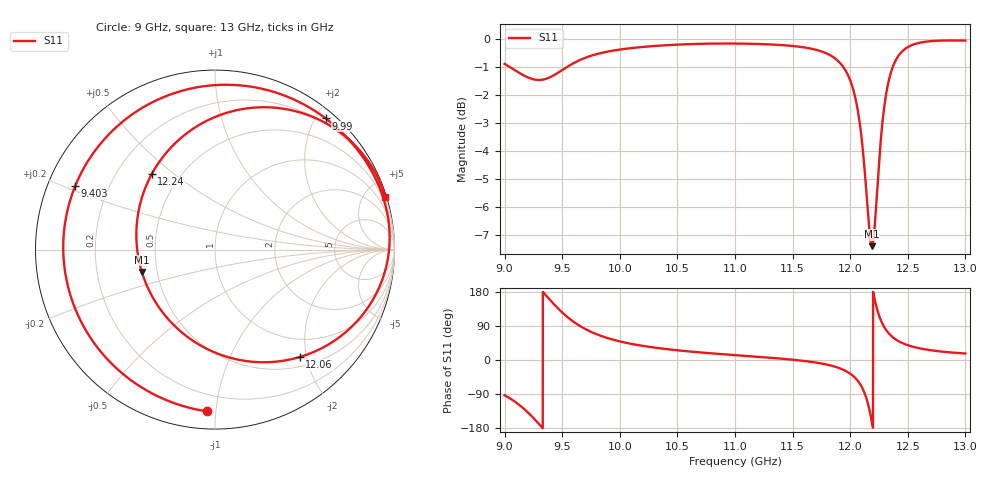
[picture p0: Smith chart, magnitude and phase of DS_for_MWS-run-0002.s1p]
! TOUCHSTONE file generated by CST DESIGN STUDIO
! Date and time: Tue Feb  4 13:09:00 2025
! Project name: C:\Work\MatlabApps\UnitCellOptimizationMatlab\CST\unitcell.cst
! Tree item: Tasks\Sweep1\SPara1\S-Parameters
! Header version: 2024
! Port assignment regex: !\s*Touchstone port\s*([0-9]+)\s*=\s*(CST MWS port|CST DES external port|CST DES block port)\s*(.+)\s* \(\"(.*)\"\)(\s*mode\s*([0-9]+))?.*
! Touchstone port assignment:
! Touchstone port 1 = CST DES external port 1 ("")
# GHz S MA R 50
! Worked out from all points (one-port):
!   4001 points, 9 GHz to 13 GHz, reference 50 ohm
!   lowest |S11| = -7.4 dB at 12.19 GHz (marker M1), VSWR 2.48, Z = 20.5 - j6.26 ohm
!   |S11| at or under -10 dB: nowhere
!   S11 on the Smith chart (normalised r, x): 9 GHz: 0.10, -0.94; 9.403 GHz: 0.08, +0.22; 9.99 GHz: 0.13, +2.15; 12.06 GHz: 0.66, -1.88; 12.24 GHz: 0.35, +0.42; 13 GHz: 0.16, +6.65
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9  0.9023 -93.0
9.102  0.8756 -112.7
9.19  0.8557 -135.0
9.304  0.8444 -170.8
9.403  0.8556 155.5
9.5  0.8796 125.4
9.579  0.9002 105.3
9.671  0.92 86.7
9.818  0.9414 65.8
9.99  0.9563 49.8
10  0.957 49.1
10.5  0.9767 25.6
11  0.981 12.8
11.5  0.9713 0.8
11.835  0.9327 -14.8
12  0.8431 -36.1
12.057  0.7624 -51.7
12.129  0.5706 -90.8
12.158  0.4757 -120.1
12.188  0.4261 -162.9
12.212  0.4608 160.6
12.237  0.5485 130.0
12.275  0.6928 98.7
12.319  0.8123 76.2
12.398  0.918 53.7
12.5  0.9667 39.0
12.684  0.9901 26.4
13  0.993 17.1
